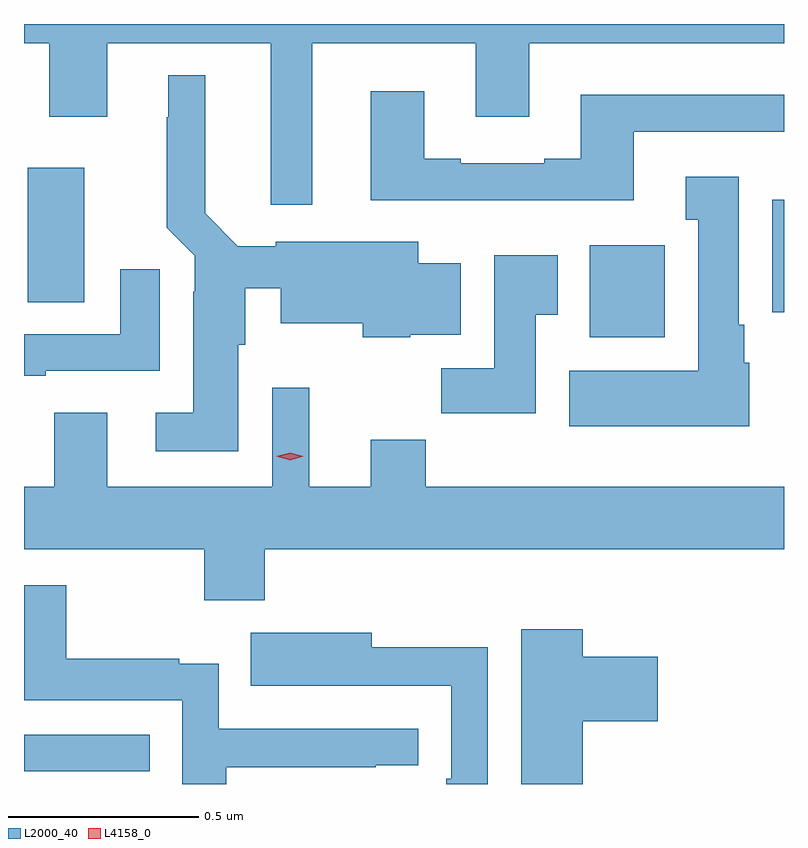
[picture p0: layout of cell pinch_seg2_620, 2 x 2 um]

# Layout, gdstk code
import gdstk
lib = gdstk.Library(unit=1e-6, precision=1e-09)
def R(c, l, rs):  # rectangles x0, y0, x1, y1
    for r in rs: c.add(gdstk.rectangle(r[:2], r[2:], *l))
def P(c, l, *ps):  # polygons
    for p in ps: c.add(gdstk.Polygon(p, *l))
L2000_40 = (2000, 40)
L4158_0 = (4158, 0)

pinch_seg2_620 = lib.new_cell('pinch_seg2_620')
R(pinch_seg2_620, L2000_40, [(1049.356,608.424,1049.687,608.52), (1050.845,609.566,1051.042,609.808), (1051.325,609.632,1051.356,609.928), (1049.366,609.658,1049.515,610.012)])
P(pinch_seg2_620, L2000_40, [(1050.115,610.34),(1050.545,610.34),(1050.545,610.146),(1050.685,610.146),(1050.685,610.34),(1051.356,610.34),(1051.356,610.39),(1049.356,610.39),(1049.356,610.34),(1049.423,610.34),(1049.423,610.146),(1049.575,610.146),(1049.575,610.34),(1050.005,610.34),(1050.005,609.915),(1050.115,609.915)],
  [(1049.92,609.546),(1049.938,609.546),(1049.938,609.695),(1050.032,609.695),(1050.032,609.602),(1050.247,609.602),(1050.247,609.566),(1050.372,609.566),(1050.372,609.572),(1050.505,609.572),(1050.505,609.76),(1050.394,609.76),(1050.394,609.817),(1050.018,609.817),(1050.018,609.805),(1049.919,609.805),(1049.833,609.892),(1049.833,610.255),(1049.735,610.255),(1049.735,610.145),(1049.731,610.145),(1049.731,609.854),(1049.805,609.78),(1049.805,609.686),(1049.801,609.686),(1049.801,609.367),(1049.703,609.367),(1049.703,609.266),(1049.92,609.266)],
  [(1050.961,610.107),(1051.356,610.107),(1051.356,610.204),(1050.821,610.204),(1050.821,610.036),(1050.725,610.036),(1050.725,610.023),(1050.505,610.023),(1050.505,610.036),(1050.409,610.036),(1050.409,610.213),(1050.269,610.213),(1050.269,609.926),(1050.961,609.926)],
  [(1051.264,609.498),(1051.252,609.498),(1051.252,609.598),(1051.237,609.598),(1051.237,609.988),(1051.097,609.988),(1051.097,609.875),(1051.13,609.875),(1051.13,609.478),(1050.791,609.478),(1050.791,609.332),(1051.264,609.332)],
  [(1050.703,609.625),(1050.76,609.625),(1050.76,609.781),(1050.593,609.781),(1050.593,609.484),(1050.454,609.484),(1050.454,609.366),(1050.703,609.366)],
  [(1049.413,609.477),(1049.713,609.477),(1049.713,609.745),(1049.609,609.745),(1049.609,609.573),(1049.356,609.573),(1049.356,609.465),(1049.413,609.465)],
  [(1049.99,609.008),(1051.356,609.008),(1051.356,609.172),(1050.413,609.172),(1050.413,609.296),(1050.269,609.296),(1050.269,609.172),(1050.106,609.172),(1050.106,609.433),(1050.009,609.433),(1050.009,609.172),(1049.575,609.172),(1049.575,609.367),(1049.435,609.367),(1049.435,609.172),(1049.356,609.172),(1049.356,609.008),(1049.83,609.008),(1049.83,608.873),(1049.99,608.873)],
  [(1049.888,608.434),(1050.281,608.434),(1050.281,608.439),(1050.394,608.439),(1050.394,608.535),(1049.868,608.535),(1049.868,608.707),(1049.765,608.707),(1049.765,608.719),(1049.467,608.719),(1049.467,608.913),(1049.356,608.913),(1049.356,608.61),(1049.772,608.61),(1049.772,608.39),(1049.888,608.39)],
  [(1050.826,608.555),(1051.024,608.555),(1051.024,608.725),(1050.826,608.725),(1050.826,608.797),(1050.665,608.797),(1050.665,608.39),(1050.826,608.39)],
  [(1050.576,608.75),(1050.271,608.75),(1050.271,608.788),(1049.953,608.788),(1049.953,608.648),(1050.167,608.648),(1050.167,608.649),(1050.48,608.649),(1050.48,608.404),(1050.467,608.404),(1050.467,608.39),(1050.576,608.39)])
P(pinch_seg2_620, L4158_0, [(1050.056,609.242),(1050.02,609.252),(1050.02,609.252),(1050.02,609.253),(1050.056,609.262),(1050.091,609.253),(1050.091,609.252),(1050.091,609.252)])

lib.write_gds('pinch_seg2_620.gds')
